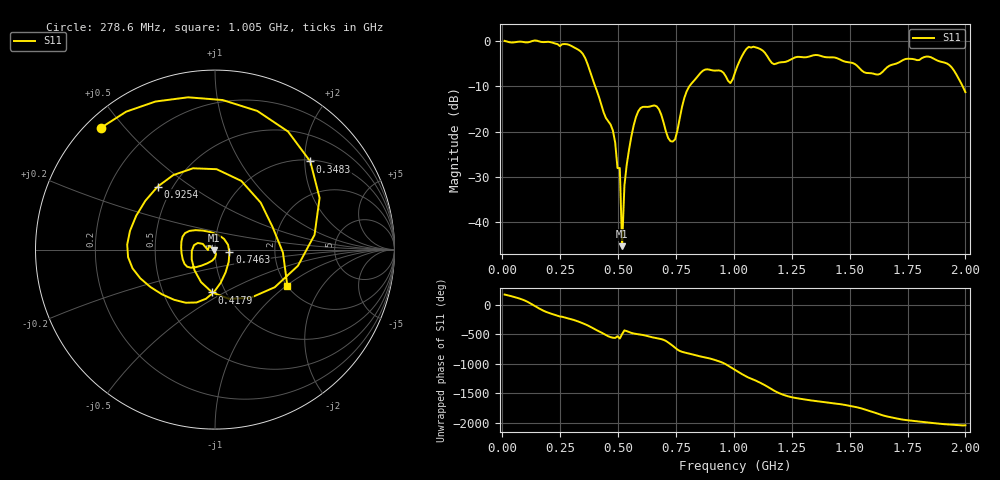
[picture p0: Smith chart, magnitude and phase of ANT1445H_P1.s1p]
!Created with skrf (http://scikit-rf.org).
# Hz S RI R 50.0
!freq ReS11 ImS11
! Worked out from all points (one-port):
!   201 points, 10 MHz to 2 GHz, reference 50 ohm
!   lowest |S11| = -45.4 dB at 517.5 MHz (marker M1), VSWR 1.01, Z = 49.6 - j0.346 ohm
!   |S11| at or under -10 dB: 401.4 MHz to 807.6 MHz (406.2 MHz wide, 67.2 % of centre); 1.988 GHz to end of sweep
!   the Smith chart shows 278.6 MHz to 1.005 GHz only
!   S11 on the Smith chart (normalised r, x): 278.6 MHz: 0.04, +0.43; 348.3 MHz: 1.03, +2.13; 417.9 MHz: 0.87, -0.44; 746.3 MHz: 1.17, -0.04; 925.4 MHz: 0.42, +0.38; 1.005 GHz: 2.01, -1.01
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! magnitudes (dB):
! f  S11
! 10 MHz  0.1
! 258.8 MHz  -0.6
! 278.6 MHz  -0.6
! 348.3 MHz  -2.8
! 417.9 MHz  -12.4
! 477.6 MHz  -19.8
! 497.6 MHz  -28.1
! 507.5 MHz  -28.1
! 517.5 MHz  -45.4
! 527.4 MHz  -32.0
! 537.4 MHz  -27.4
! 587.1 MHz  -15.5
! 666.7 MHz  -14.4
! 716.5 MHz  -21.4
! 746.3 MHz  -21.7
! 756.2 MHz  -19.8
! 806 MHz  -10.1
! 925.4 MHz  -6.5
! 985.1 MHz  -9.3
! 1.005 GHz  -6.9
! 1.065 GHz  -1.2
! 1.174 GHz  -5.1
! 1.254 GHz  -3.8
! 1.502 GHz  -4.7
! 1.622 GHz  -7.4
! 1.751 GHz  -3.9
! 1.92 GHz  -4.9
! 2 GHz  -11.3
